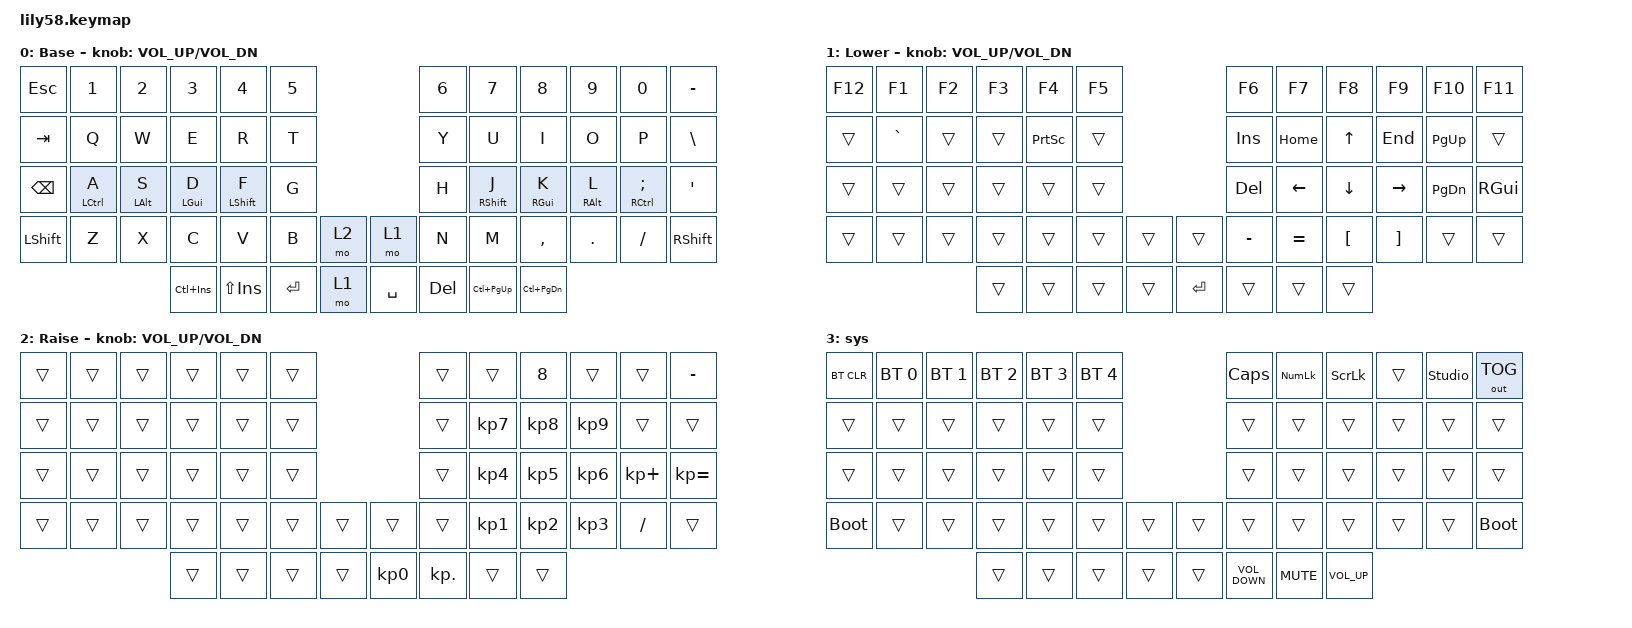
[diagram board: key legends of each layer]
/*
 * Copyright (c) 2020 The ZMK Contributors
 *
 * SPDX-License-Identifier: MIT
 */

#include <behaviors.dtsi>
#include <dt-bindings/zmk/bt.h>
#include <dt-bindings/zmk/keys.h>
#include <dt-bindings/zmk/outputs.h>

/ {
    behaviors {
        tpmt: tpmt {
            compatible = "zmk,behavior-hold-tap";
            label = "TPMT";
            bindings = <&kp>, <&kp>;

            #binding-cells = <2>;
            flavor = "tap-preferred";
            tapping-term-ms = <200>;
            require-prior-idle-ms = <125>;
            quick-tap-ms = <125>;
        };
    };

    keymap {
        compatible = "zmk,keymap";

        default_layer {
            // ------------------------------------------------------------------------------------------------------------
            // |  ESC  |  1  |  2  |  3   |  4   |  5   |                   |  6   |  7    |  8    |  9   |   0   |   `   |
            // |  TAB  |  Q  |  W  |  E   |  R   |  T   |                   |  Y   |  U    |  I    |  O   |   P   |   -   |
            // |  CTRL |  A  |  S  |  D   |  F   |  G   |                   |  H   |  J    |  K    |  L   |   ;   |   '   |
            // | SHIFT |  Z  |  X  |  C   |  V   |  B   |   "["  |  |  "]"  |  N   |  M    |  ,    |  .   |   /   | SHIFT |
            //                     | ALT  | GUI  | LOWER|  SPACE |  | ENTER | RAISE| BSPC  | GUI   |

            display-name = "Base";
            bindings = <
&kp ESC        &kp N1         &kp N2            &kp N3        &kp N4          &kp N5                         &kp N6   &kp N7         &kp N8         &kp N9        &kp N0                 &kp MINUS
&kp TAB        &kp Q          &kp W             &kp E         &kp R           &kp T                          &kp Y    &kp U          &kp I          &kp O         &kp P                  &kp BACKSLASH
&kp BACKSPACE  &tpmt LCTRL A  &tpmt LEFT_ALT S  &tpmt LGUI D  &tpmt LSHIFT F  &kp G                          &kp H    &tpmt RSHFT J  &tpmt RGUI K   &tpmt RALT L  &tpmt RCTRL SEMICOLON  &kp SQT
&kp LSHFT      &kp Z          &kp X             &kp C         &kp V           &kp B      &mo 2    &mo 1      &kp N    &kp M          &kp COMMA      &kp DOT       &kp FSLH               &kp RSHFT
                                                &kp LC(INS)   &kp LS(INS)     &kp ENTER  &mo 1    &kp SPACE  &kp DEL  &kp LC(PG_UP)  &kp LC(PG_DN)
            >;

            sensor-bindings = <&inc_dec_kp C_VOL_UP C_VOL_DN>;
        };

        lower_layer {
            // ------------------------------------------------------------------------------------------------------------
            // | BTCLR | BT1 | BT2 |  BT3 |  BT4 |  BT5 |                   |      |       |       |      |       |       |
            // |  F1   |  F2 |  F3 |  F4  |  F5  |  F6  |                   |  F7  |  F8   |  F9   |  F10 |  F11  |  F12  |
            // |   `   |  !  |  @  |  #   |  $   |  %   |                   |  ^   |  &    |  *    |  (   |   )   |   ~   |
            // |       |     |     |      |      |      |        |  |       |      |  _    |  +    |  {   |   }   |  "|"  |
            //                     |      |      |      |        |  |       |      |       |       |

            display-name = "Lower";
            bindings = <
&kp F12  &kp F1     &kp F2  &kp F3  &kp F4           &kp F5                       &kp F6     &kp F7     &kp F8    &kp F9     &kp F10    &kp F11
&trans   &kp GRAVE  &trans  &trans  &kp PRINTSCREEN  &trans                       &kp INS    &kp HOME   &kp UP    &kp END    &kp PG_UP  &trans
&trans   &trans     &trans  &trans  &trans           &trans                       &kp DEL    &kp LEFT   &kp DOWN  &kp RIGHT  &kp PG_DN  &kp RGUI
&trans   &trans     &trans  &trans  &trans           &trans  &trans    &trans     &kp MINUS  &kp EQUAL  &kp LBKT  &kp RBKT   &trans     &trans
                            &trans  &trans           &trans  &trans    &kp ENTER  &trans     &trans     &trans
            >;

            sensor-bindings = <&inc_dec_kp C_VOL_UP C_VOL_DN>;
        };

        raise_layer {
            // ------------------------------------------------------------------------------------------------------------
            // |       |     |     |      |      |      |                   |      |       |       |      |       |       |
            // |   `   |  1  |  2  |  3   |  4   |  5   |                   |  6   |   7   |   8   |  9   |   0   |       |
            // |   F1  |  F2 |  F3 |  F4  |  F5  |  F6  |                   |      |   <-  |   v   |  ^   |  ->   |       |
            // |   F7  |  F8 |  F9 |  F10 |  F11 |  F12 |        |  |       |  +   |   -   |   =   |  [   |   ]   |   \   |
            //                     |      |      |      |        |  |       |      |       |       |

            display-name = "Raise";
            bindings = <
&trans  &trans  &trans  &trans  &trans  &trans                       &trans      &trans     &kp NUMBER_8  &trans     &trans       &kp MINUS
&trans  &trans  &trans  &trans  &trans  &trans                       &trans      &kp KP_N7  &kp KP_N8     &kp KP_N9  &trans       &trans
&trans  &trans  &trans  &trans  &trans  &trans                       &trans      &kp KP_N4  &kp KP_N5     &kp KP_N6  &kp KP_PLUS  &kp KP_EQUAL
&trans  &trans  &trans  &trans  &trans  &trans  &trans    &trans     &trans      &kp KP_N1  &kp KP_N2     &kp KP_N3  &kp SLASH    &trans
                        &trans  &trans  &trans  &trans    &kp KP_N0  &kp KP_DOT  &trans     &trans
            >;

            sensor-bindings = <&inc_dec_kp C_VOL_UP C_VOL_DN>;
        };

        sys {
            bindings = <
&bt BT_CLR   &bt BT_SEL 0  &bt BT_SEL 1  &bt BT_SEL 2  &bt BT_SEL 3  &bt BT_SEL 4                    &kp CAPS           &kp KP_NUMLOCK  &kp SCROLLLOCK   &trans  &studio_unlock  &out OUT_TOG
&trans       &trans        &trans        &trans        &trans        &trans                          &trans             &trans          &trans           &trans  &trans          &trans
&trans       &trans        &trans        &trans        &trans        &trans                          &trans             &trans          &trans           &trans  &trans          &trans
&bootloader  &trans        &trans        &trans        &trans        &trans        &trans    &trans  &trans             &trans          &trans           &trans  &trans          &bootloader
                                         &trans        &trans        &trans        &trans    &trans  &kp C_VOLUME_DOWN  &kp C_MUTE      &kp C_VOLUME_UP
            >;

            label = "sys";
        };

        extra1 { status = "reserved"; };

        extra2 { status = "reserved"; };

        extra3 { status = "reserved"; };
    };

    conditional_layers {
        compatible = "zmk,conditional-layers";

        adjust_layer {
            if-layers = <1 2>;
            then-layer = <3>;
        };
    };
};
